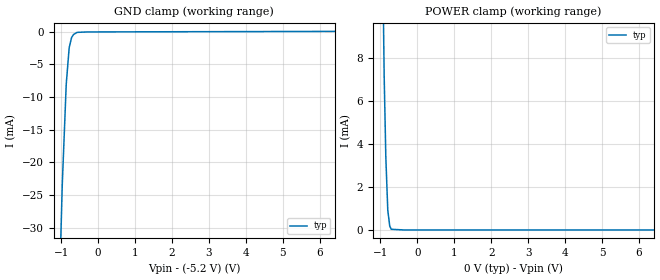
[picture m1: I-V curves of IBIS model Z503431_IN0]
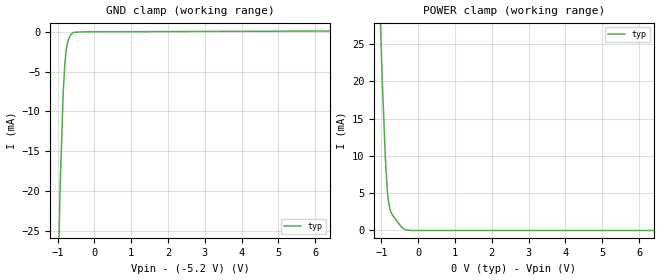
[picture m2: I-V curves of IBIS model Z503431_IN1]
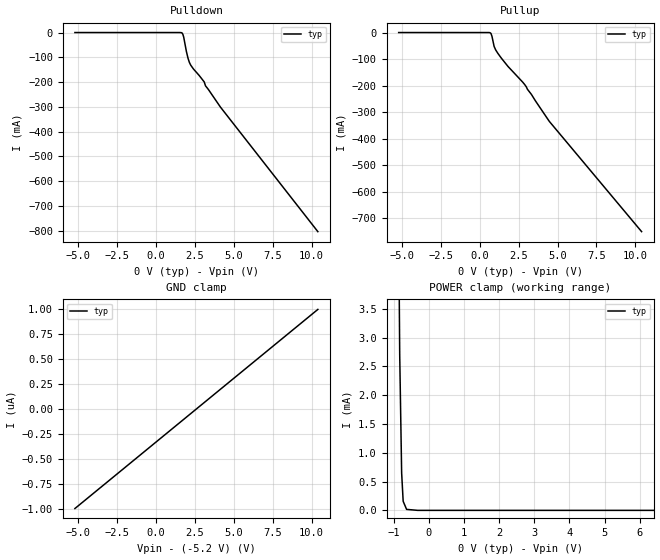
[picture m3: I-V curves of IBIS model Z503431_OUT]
| YOU ARE ONLY AUTHORIZED TO USE THIS SOFTWARE
| ACCORDING TO LICENSOR'S LICENSE RESTRICTIONS.
[IBIS Ver] 3.1
[File Name] mc10el58d.ibs
[File Rev] 2.0
[Source] Measured and created by ICX Technology
[Date] Friday 7/14/00 9:07:50 AM
[Copyright]
| (C) COPYRIGHT 1993-2000
| MENTOR GRAPHICS CORPORATION
| ICX STANDARD LIBRARY, ICX PROJECT MODELING,
| ICX CUSTOM MODELING, ICX VENDOR MODEL
| ALL RIGHTS RESERVED.
| THE FOLLOWING ARE TRADEMARKS OR SERVICE MARKS OF
| MENTOR GRAPHICS CORPORATION:ICX (R), ICX STANDARD
| LIBRARY(R), ICX PROJECT MODELING(R), ICX CUSTOM
| MODELING(R), qualityIBIS(TM), MODELVIEWER(TM),
| AND MODELEDITOR(TM)
| ALL COPIES OF SOFTWARE, INCLUDING BUT NOT LIMITED TO
| ANY MODIFICATIONS, ENHANCEMENTS OR DERIVATIVE WORKS,
| MUST CONTAIN ALL MENTOR GRAPHICS CORPORATION'S
| NOTICES AND LEGENDS, INCLUDING THOSE EMBEDDED IN
| SOFTWARE AND THOSE AFFIXED TO SOFTWARE MEDIUM
| AND CONTAINER, AS RECEIVED FROM MENTOR GRAPHICS
| CORPORATION.
|  ZAP Model Builder 2.7
[Component] MC10EL58D
[Manufacturer] OnSemiconductor
[Package]
| variable   typ   min   max
R_pkg  .152ohms NA NA
L_pkg  2.714nH NA NA
C_pkg  .364pF NA NA
[Pin] signal_name  model_name  R_pin  L_pin C_pin
1 NC NC .154 2.924n .374p
2 DA Z503431_IN0 .15 2.504n .354p
3 DB Z503431_IN0 .15 2.504n .354p
4 SEL Z503431_IN1 .154 2.924n .374p
5 VEE POWER .154 2.924n .374p
6 _Q Z503431_OUT .15 2.504n .354p
7 Q Z503431_OUT .15 2.504n .354p
8 VCC POWER .154 2.924n .374p
| Models and submodels in the file (3): Z503431_IN0 (Input_ECL), Z503431_IN1 (Input_ECL), Z503431_OUT (Output_ECL)
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| (C) COPYRIGHT 1993-2000
| MENTOR GRAPHICS CORPORATION
| ICX STANDARD LIBRARY, ICX PROJECT MODELING,
| ICX CUSTOM MODELING, ICX VENDOR MODEL
| ALL RIGHTS RESERVED.
| THE FOLLOWING ARE TRADEMARKS OR SERVICE MARKS OF
| MENTOR GRAPHICS CORPORATION:ICX (R), ICX STANDARD
| LIBRARY(R), ICX PROJECT MODELING(R), ICX CUSTOM
| MODELING(R), qualityIBIS(TM), MODELVIEWER(TM),
| AND MODELEDITOR(TM)
| ALL COPIES OF SOFTWARE, INCLUDING BUT NOT LIMITED TO
| ANY MODIFICATIONS, ENHANCEMENTS OR DERIVATIVE WORKS,
| MUST CONTAIN ALL MENTOR GRAPHICS CORPORATION'S
| NOTICES AND LEGENDS, INCLUDING THOSE EMBEDDED IN
| SOFTWARE AND THOSE AFFIXED TO SOFTWARE MEDIUM
| AND CONTAINER, AS RECEIVED FROM MENTOR GRAPHICS
| CORPORATION.
| Model Application Version 1.89 2/18/99.
[Model] Z503431_IN0
Model_type Input_ECL
Vinl = -1.480V
Vinh = -1.130V
C_comp 8.000pF NA NA
| variable typ   min   max
[Voltage Range] -5.200V NA NA
[GND Clamp Reference] -5.200V NA NA
[POWER Clamp Reference] 0.000V NA NA
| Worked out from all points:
|   GND clamp passes 1 mA (typ) near -0.72 V on its own axis
|   POWER clamp passes 1 mA (typ) near -0.80 V on its own axis
[GND Clamp]
-5.2V     -896.8mA   NA         NA
-971mV    -23.34mA   NA         NA
-864mV    -8.01mA    NA         NA
-784mV    -2.416mA   NA         NA
-718mV    -854.5uA   NA         NA
-664mV    -398.4uA   NA         NA
-567mV    -85.45uA   NA         NA
-283.5mV  -19.28uA   NA         NA
10.4V     115.2uA    NA         NA
[POWER Clamp]
-5.2V     1.688A     NA         NA
-1.133V   50.93mA    NA         NA
-1.064V   32mA       NA         NA
-1.016V   23.01mA    NA         NA
-897.4mV  7.097mA    NA         NA
-852.9mV  3.365mA    NA         NA
-800.3mV  920.5uA    NA         NA
-747.2mV  180.8uA    NA         NA
-706.2mV  32.54uA    NA         NA
-353.1mV  0A         NA         NA
10.4V     0A         NA         NA
| (C) COPYRIGHT 1993-2000
| MENTOR GRAPHICS CORPORATION
| ICX STANDARD LIBRARY, ICX PROJECT MODELING,
| ICX CUSTOM MODELING, ICX VENDOR MODEL
| ALL RIGHTS RESERVED.
| THE FOLLOWING ARE TRADEMARKS OR SERVICE MARKS OF
| MENTOR GRAPHICS CORPORATION:ICX (R), ICX STANDARD
| LIBRARY(R), ICX PROJECT MODELING(R), ICX CUSTOM
| MODELING(R), qualityIBIS(TM), MODELVIEWER(TM),
| AND MODELEDITOR(TM)
| ALL COPIES OF SOFTWARE, INCLUDING BUT NOT LIMITED TO
| ANY MODIFICATIONS, ENHANCEMENTS OR DERIVATIVE WORKS,
| MUST CONTAIN ALL MENTOR GRAPHICS CORPORATION'S
| NOTICES AND LEGENDS, INCLUDING THOSE EMBEDDED IN
| SOFTWARE AND THOSE AFFIXED TO SOFTWARE MEDIUM
| AND CONTAINER, AS RECEIVED FROM MENTOR GRAPHICS
| CORPORATION.
| Model Application Version 1.89 2/18/99.
[Model] Z503431_IN1
Model_type Input_ECL
Vinl = -1.480V
Vinh = -1.130V
C_comp 8.000pF NA NA
| variable typ   min   max
[Voltage Range] -5.200V NA NA
[GND Clamp Reference] -5.200V NA NA
[POWER Clamp Reference] 0.000V NA NA
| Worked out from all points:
|   GND clamp passes 1 mA (typ) near -0.71 V on its own axis
|   POWER clamp passes 1 mA (typ) near -0.54 V on its own axis
[GND Clamp]
-5.2V     -956.8mA   NA         NA
-931mV    -19.19mA   NA         NA
-848mV    -7.607mA   NA         NA
-806mV    -4.153mA   NA         NA
-767mV    -2.269mA   NA         NA
-714mV    -1.074mA   NA         NA
-644mV    -374uA     NA         NA
-567mV    -89.27uA   NA         NA
-283.5mV  -21.21uA   NA         NA
10.4V     138.2uA    NA         NA
[POWER Clamp]
-5.2V     1.566A     NA         NA
-1.063V   34.09mA    NA         NA
-980.2mV  20.62mA    NA         NA
-891.4mV  9.603mA    NA         NA
-835mV    5.121mA    NA         NA
-807.8mV  3.896mA    NA         NA
-761.4mV  2.742mA    NA         NA
-726.7mV  2.311mA    NA         NA
-463.8mV  522.1uA    NA         NA
-370.7mV  119.5uA    NA         NA
-185.4mV  0A         NA         NA
10.4V     0A         NA         NA
| (C) COPYRIGHT 1993-2000
| MENTOR GRAPHICS CORPORATION
| ICX STANDARD LIBRARY, ICX PROJECT MODELING,
| ICX CUSTOM MODELING, ICX VENDOR MODEL
| ALL RIGHTS RESERVED.
| THE FOLLOWING ARE TRADEMARKS OR SERVICE MARKS OF
| MENTOR GRAPHICS CORPORATION:ICX (R), ICX STANDARD
| LIBRARY(R), ICX PROJECT MODELING(R), ICX CUSTOM
| MODELING(R), qualityIBIS(TM), MODELVIEWER(TM),
| AND MODELEDITOR(TM)
| ALL COPIES OF SOFTWARE, INCLUDING BUT NOT LIMITED TO
| ANY MODIFICATIONS, ENHANCEMENTS OR DERIVATIVE WORKS,
| MUST CONTAIN ALL MENTOR GRAPHICS CORPORATION'S
| NOTICES AND LEGENDS, INCLUDING THOSE EMBEDDED IN
| SOFTWARE AND THOSE AFFIXED TO SOFTWARE MEDIUM
| AND CONTAINER, AS RECEIVED FROM MENTOR GRAPHICS
| CORPORATION.
| Model Application Version 1.89 2/18/99.
[Model] Z503431_OUT
Model_type Output_ECL
Vref=-2.000V
Rref=50.00ohms
Cref=0.000F
Vmeas=-1.305V
C_comp 8.000pF NA NA
| variable typ   min   max
[Voltage Range] -5.200V NA NA
[POWER Clamp Reference] 0.000V NA NA
[Pullup Reference] 0.000V NA NA
[Pulldown Reference] 0.000V NA NA
[GND Clamp Reference] -5.200V NA NA
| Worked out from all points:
|   POWER clamp passes 1 mA (typ) near -0.78 V on its own axis
[GND Clamp]
-5.2V     -1uA       NA         NA
10.4V     1uA        NA         NA
[Pulldown]
-5.2V     107uA      NA         NA
1.68V     -1.805mA   NA         NA
1.733V    -7.17mA    NA         NA
1.785V    -18.24mA   NA         NA
1.958V    -76.25mA   NA         NA
2.065V    -104.3mA   NA         NA
2.15V     -120.4mA   NA         NA
2.236V    -131.5mA   NA         NA
3.104V    -199.3mA   NA         NA
3.184V    -214.8mA   NA         NA
4.146V    -300.9mA   NA         NA
10.4V     -803.4mA   NA         NA
[Pullup]
-5.2V     88.73uA    NA         NA
586.6mV   46.72uA    NA         NA
725.6mV   -3.216mA   NA         NA
791.1mV   -14.11mA   NA         NA
928.6mV   -52.24mA   NA         NA
1.031V    -65.69mA   NA         NA
1.177V    -79.05mA   NA         NA
1.822V    -127.9mA   NA         NA
2.889V    -195.9mA   NA         NA
4.469V    -334.6mA   NA         NA
10.4V     -750.7mA   NA         NA
[POWER Clamp]
-5.2V     350.1mA    NA         NA
-825.2mV  2.709mA    NA         NA
-770mV    650.1uA    NA         NA
-726.8mV  157.6uA    NA         NA
-629.6mV  17.17uA    NA         NA
-314.8mV  0A         NA         NA
10.4V     0A         NA         NA
[Ramp]
| variable typ min max
dV/dt_r 535.8m/664.3p NA NA
dV/dt_f 535.8m/563.9p NA NA
R_load = 50.00Ohms
